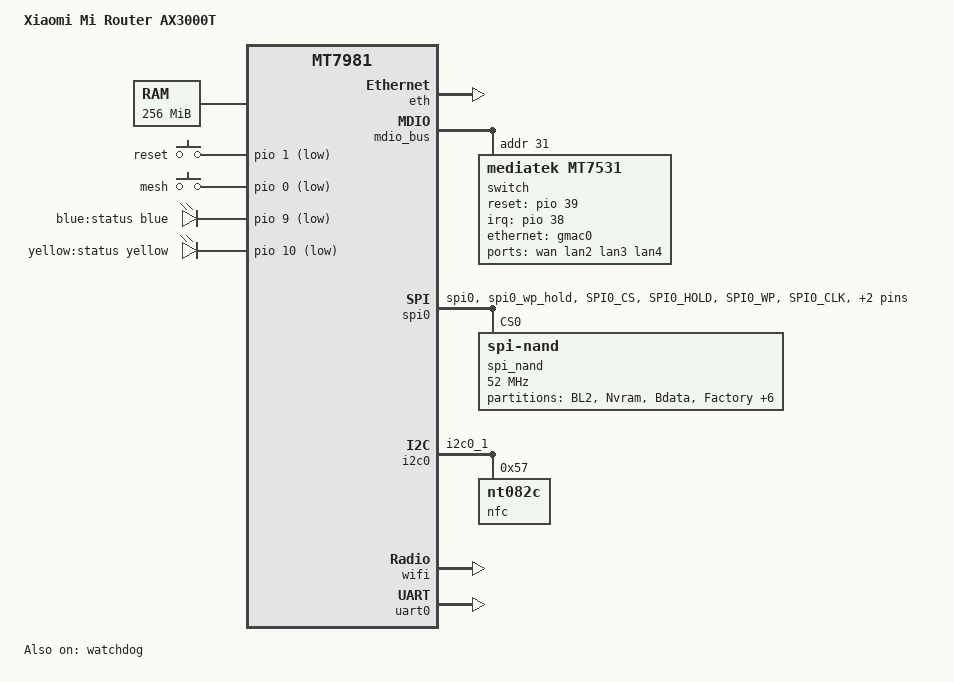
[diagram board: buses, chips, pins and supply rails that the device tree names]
// SPDX-License-Identifier: GPL-2.0-or-later OR MIT

/dts-v1/;
#include <dt-bindings/input/input.h>
#include <dt-bindings/gpio/gpio.h>

#include "mt7981.dtsi"

/ {
	model = "Xiaomi Mi Router AX3000T";
	compatible = "xiaomi,mi-router-ax3000t", "xiaomi,mi-router-ax3000t-stock", "mediatek,mt7981";

	aliases {
		serial0 = &uart0;
		led-boot = &led_status_yellow;
		led-failsafe = &led_status_yellow;
		led-running = &led_status_blue;
		led-upgrade = &led_status_yellow;
	};

	chosen {
		stdout-path = "serial0:115200n8";
	};

	memory {
		reg = <0 0x40000000 0 0x10000000>;
	};

	gpio-keys {
		compatible = "gpio-keys";

		button-reset {
			label = "reset";
			gpios = <&pio 1 GPIO_ACTIVE_LOW>;
			linux,code = <KEY_RESTART>;
		};

		button-mesh {
			label = "mesh";
			gpios = <&pio 0 GPIO_ACTIVE_LOW>;
			linux,code = <BTN_9>;
			linux,input-type = <EV_SW>;
		};
	};

	leds: leds {
		compatible = "gpio-leds";

		led_status_blue: led-status-blue {
			label = "blue:status";
			color = <LED_COLOR_ID_BLUE>;
			function = LED_FUNCTION_STATUS;
			gpios = <&pio 9 GPIO_ACTIVE_LOW>;
		};

		led_status_yellow: led-status-yellow {
			label = "yellow:status";
			color = <LED_COLOR_ID_YELLOW>;
			function = LED_FUNCTION_STATUS;
			gpios = <&pio 10 GPIO_ACTIVE_LOW>;
		};
	};
};

&eth {
	status = "okay";

	gmac0: mac@0 {
		compatible = "mediatek,eth-mac";
		reg = <0>;
		phy-mode = "2500base-x";

		nvmem-cell-names = "mac-address";
		nvmem-cells = <&macaddr_factory_4 (-2)>;

		fixed-link {
			speed = <2500>;
			full-duplex;
			pause;
		};
	};
};

&mdio_bus {
	switch: switch@1f {
		compatible = "mediatek,mt7531";
		reg = <31>;
		reset-gpios = <&pio 39 GPIO_ACTIVE_HIGH>;
		interrupt-controller;
		#interrupt-cells = <1>;
		interrupt-parent = <&pio>;
		interrupts = <38 IRQ_TYPE_LEVEL_HIGH>;
	};
};

&switch {
	ports {
		#address-cells = <1>;
		#size-cells = <0>;

		port@0 {
			reg = <0>;
			label = "wan";
		};

		port@1 {
			reg = <1>;
			label = "lan2";
		};

		port@2 {
			reg = <2>;
			label = "lan3";
		};

		port@3 {
			reg = <3>;
			label = "lan4";
		};

		port@6 {
			reg = <6>;
			ethernet = <&gmac0>;
			phy-mode = "2500base-x";

			fixed-link {
				speed = <2500>;
				full-duplex;
				pause;
			};
		};
	};
};

&spi0 {
	pinctrl-names = "default";
	pinctrl-0 = <&spi0_flash_pins>;
	status = "okay";

	spi_nand: flash@0 {
		#address-cells = <1>;
		#size-cells = <1>;
		compatible = "spi-nand";
		reg = <0>;

		mediatek,nmbm;
		mediatek,bmt-max-ratio = <1>;
		mediatek,bmt-max-reserved-blocks = <64>;

		spi-max-frequency = <52000000>;
		spi-tx-bus-width = <4>;
		spi-rx-bus-width = <4>;

		partitions: partitions {
			compatible = "fixed-partitions";
			#address-cells = <1>;
			#size-cells = <1>;

			partition@0 {
				label = "BL2";
				reg = <0x00 0x100000>;
				read-only;
			};

			partition@100000 {
				label = "Nvram";
				reg = <0x100000 0x40000>;
			};

			partition@140000 {
				label = "Bdata";
				reg = <0x140000 0x40000>;
			};

			factory: partition@180000 {
				label = "Factory";
				reg = <0x180000 0x200000>;
				read-only;

				nvmem-layout {
					compatible = "fixed-layout";
					#address-cells = <1>;
					#size-cells = <1>;

					macaddr_factory_4: macaddr@4 {
						compatible = "mac-base";
						reg = <0x4 0x6>;
						#nvmem-cell-cells = <1>;
					};
				};
			};

			partition@380000 {
				label = "FIP";
				reg = <0x380000 0x200000>;
				read-only;
			};

			partition@580000 {
				label = "crash";
				reg = <0x580000 0x40000>;
				read-only;
			};

			partition@5c0000 {
				label = "crash_log";
				reg = <0x5c0000 0x40000>;
				read-only;
			};

			// ubi_kernel is the ubi partition in stock.
			partition@600000 {
				label = "ubi_kernel";
				reg = <0x600000 0x2200000>;
			};

			/* ubi is the result of squashing
			 * consecutive stock partitions:
			 * - ubi1
			 * - overlay
			 * - data
			 */
			partition@2800000 {
				label = "ubi";
				reg = <0x2800000 0x4e00000>;
			};

			partition@7600000 {
				label = "KF";
				reg = <0x7600000 0x40000>;
				read-only;
			};
		};
	};
};

&i2c0 {
	pinctrl-names = "default";
	pinctrl-0 = <&i2c_pins>;
	status = "okay";

	nfc@57 {
		compatible = "nt082c";
		reg = <0x57>;
	};
};

&pio {
	spi0_flash_pins: spi0-pins {
		mux {
			function = "spi";
			groups = "spi0", "spi0_wp_hold";
		};

		conf-pu {
			pins = "SPI0_CS", "SPI0_HOLD", "SPI0_WP";
			drive-strength = <MTK_DRIVE_8mA>;
			bias-pull-up = <MTK_PUPD_SET_R1R0_11>;
		};

		conf-pd {
			pins = "SPI0_CLK", "SPI0_MOSI", "SPI0_MISO";
			drive-strength = <MTK_DRIVE_8mA>;
			bias-pull-down = <MTK_PUPD_SET_R1R0_11>;
		};
	};

	i2c_pins: i2c-pins {
		mux {
			function = "i2c";
			groups = "i2c0_1";
		};
	};
};

&wifi {
	status = "okay";

	mediatek,mtd-eeprom = <&factory 0x0>;
};

&uart0 {
	status = "okay";
};

&watchdog {
	status = "okay";
};
